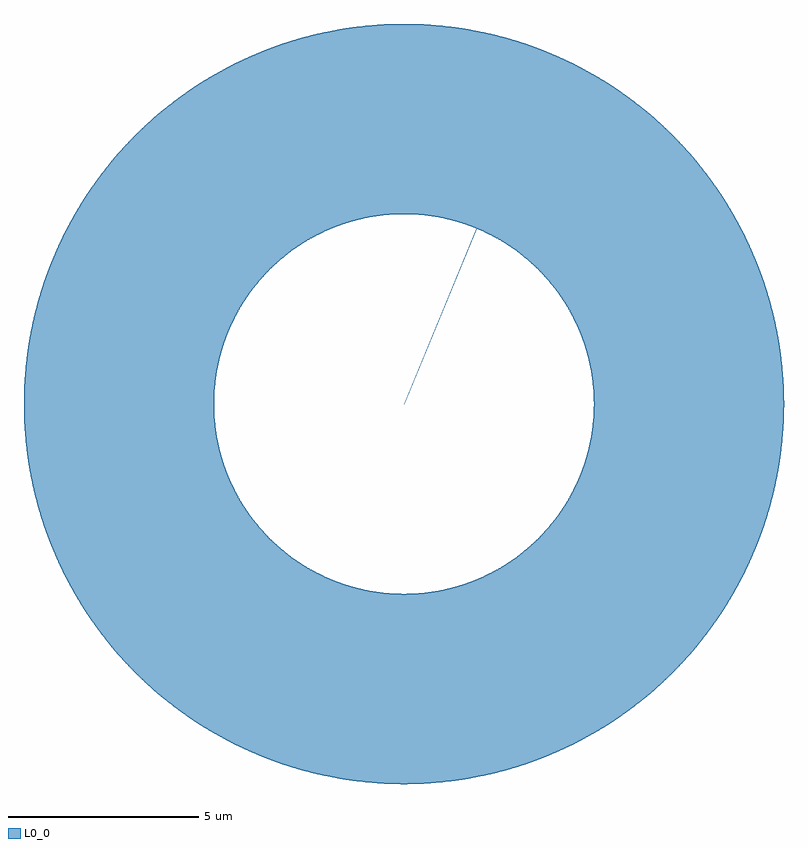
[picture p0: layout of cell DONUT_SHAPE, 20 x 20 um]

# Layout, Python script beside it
import gdspy

# Create a new GDSII library
lib = gdspy.GdsLibrary()

# Define a cell where the layout will be created
cell = lib.new_cell("DONUT_SHAPE")

# Define parameters for the donut shape
outer_radius = 10.0  # mm
inner_radius = 5.0   # mm
max_points_distance = 0.01  # mm

# Create the outer circle
outer_circle = gdspy.Round(
    center=(0, 0),
    radius=outer_radius,
    number_of_points=max(3, int(2 * 3.14159 * outer_radius / max_points_distance))
)

# Create the inner circle (to be subtracted)
inner_circle = gdspy.Round(
    center=(0, 0),
    radius=inner_radius,
    number_of_points=max(3, int(2 * 3.14159 * inner_radius / max_points_distance))
)

# Create the donut shape by subtracting the inner circle from the outer circle
donut = gdspy.boolean(outer_circle, inner_circle, 'not')

# Add the donut shape to the cell
cell.add(donut)

# Save the layout to a GDS file
lib.write_gds('donut_shape.gds')

print("GDS file 'donut_shape.gds' has been created.")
